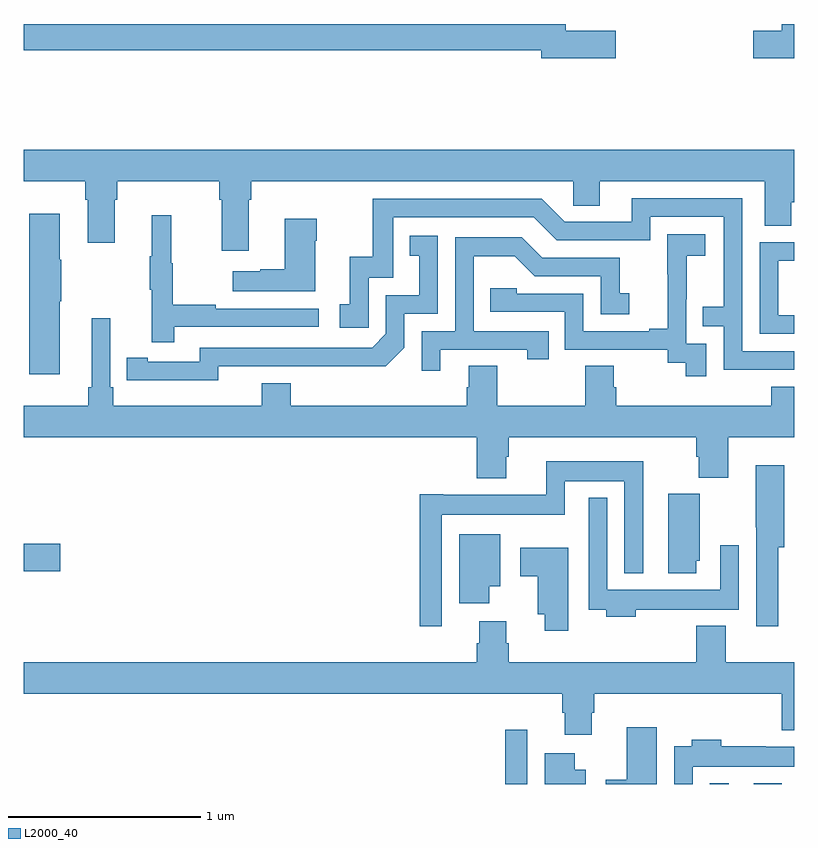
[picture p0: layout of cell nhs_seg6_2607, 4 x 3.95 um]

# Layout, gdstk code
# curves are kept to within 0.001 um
import gdstk
lib = gdstk.Library(unit=1e-6, precision=1e-09)
def R(c, l, rs):  # rectangles x0, y0, x1, y1
    for r in rs: c.add(gdstk.rectangle(r[:2], r[2:], *l))
def P(c, l, *ps):  # polygons
    for p in ps: c.add(gdstk.Polygon(p, *l))
L2000_40 = (2000, 40)

nhs_seg6_2607 = lib.new_cell('nhs_seg6_2607')
R(nhs_seg6_2607, L2000_40, [(267.499,981.5,267.615,981.781), (268.563,981.5,268.66,981.505), (268.79,981.5,268.936,981.505), (265,982.606,265.189,982.748)])
P(nhs_seg6_2607, L2000_40, [(268.075,985.412),(267.814,985.412),(267.814,985.448),(265,985.448),(265,985.312),(267.686,985.312),(267.686,985.27),(268.075,985.27)],
  [(269,985.448),(268.937,985.448),(268.937,985.412),(268.788,985.412),(268.788,985.27),(269,985.27)],
  [(265,984.632),(265.319,984.632),(265.319,984.536),(265.331,984.536),(265.331,984.312),(265.471,984.312),(265.471,984.536),(265.484,984.536),(265.484,984.632),(266.015,984.632),(266.015,984.536),(266.027,984.536),(266.027,984.27),(266.167,984.27),(266.167,984.536),(266.18,984.536),(266.18,984.632),(267.852,984.632),(267.852,984.505),(267.991,984.505),(267.991,984.632),(268.847,984.632),(268.847,984.4),(268.986,984.4),(268.986,984.523),(269,984.523),(269,984.796),(265,984.796)],
  [(269,983.748),(268.731,983.748),(268.731,984.543),(268.157,984.543),(268.157,984.42),(267.81,984.42),(267.69,984.54),(266.811,984.54),(266.811,984.238),(266.693,984.238),(266.693,983.991),(266.64,983.991),(266.64,983.871),(266.79,983.871),(266.79,984.129),(266.919,984.129),(266.919,984.444),(267.648,984.444),(267.768,984.324),(268.254,984.324),(268.254,984.447),(268.635,984.447),(268.635,983.978),(268.525,983.978),(268.525,983.877),(268.635,983.877),(268.635,983.652),(269,983.652)],
  [(265.186,984.007),(265.194,984.007),(265.194,984.224),(265.186,984.224),(265.186,984.463),(265.028,984.463),(265.028,983.628),(265.186,983.628)],
  [(265.781,983.874),(266.53,983.874),(266.53,983.97),(265.997,983.97),(265.997,983.99),(265.774,983.99),(265.774,984.204),(265.766,984.204),(265.766,984.454),(265.664,984.454),(265.664,984.241),(265.653,984.241),(265.653,984.067),(265.664,984.067),(265.664,983.796),(265.781,983.796)],
  [(266.512,984.323),(266.52,984.323),(266.52,984.436),(266.354,984.436),(266.354,984.173),(266.228,984.173),(266.228,984.163),(266.085,984.163),(266.085,984.059),(266.512,984.059)],
  [(268.545,983.787),(268.44,983.787),(268.44,984.017),(268.442,984.017),(268.442,984.245),(268.54,984.245),(268.54,984.355),(268.342,984.355),(268.342,984.149),(268.343,984.149),(268.343,983.866),(268.247,983.866),(268.247,983.853),(267.906,983.853),(267.906,984.048),(267.561,984.048),(267.561,984.075),(267.421,984.075),(267.421,983.952),(267.81,983.952),(267.81,983.757),(268.344,983.757),(268.344,983.689),(268.437,983.689),(268.437,983.619),(268.545,983.619)],
  [(266.01,983.67),(266.878,983.669),(266.976,983.766),(266.976,983.943),(267.15,983.943),(267.15,984.349),(267.004,984.349),(267.004,984.243),(267.053,984.243),(267.053,984.039),(266.88,984.039),(266.88,983.838),(266.808,983.766),(265.914,983.766),(265.914,983.694),(265.642,983.694),(265.642,983.714),(265.534,983.714),(265.534,983.598),(266.01,983.597)],
  [(267.163,983.757),(267.614,983.757),(267.614,983.706),(267.725,983.706),(267.725,983.853),(267.336,983.853),(267.336,984.242),(267.55,984.242),(267.654,984.138),(267.996,984.138),(267.996,983.94),(268.144,983.94),(268.144,984.049),(268.095,984.049),(268.095,984.234),(267.691,984.234),(267.586,984.339),(267.24,984.339),(267.24,983.853),(267.066,983.853),(267.066,983.646),(267.163,983.646)],
  [(269,983.934),(268.917,983.934),(268.917,984.219),(269,984.219),(269,984.315),(268.821,984.315),(268.821,983.838),(269,983.838)],
  [(267.505,983.199),(267.518,983.199),(267.518,983.3),(268.493,983.3),(268.493,983.201),(268.505,983.201),(268.505,983.092),(268.658,983.092),(268.658,983.3),(269,983.3),(269,983.563),(268.883,983.563),(268.883,983.464),(268.076,983.464),(268.076,983.562),(268.063,983.562),(268.063,983.672),(267.916,983.672),(267.916,983.464),(267.459,983.464),(267.459,983.672),(267.311,983.672),(267.311,983.562),(267.299,983.562),(267.299,983.464),(266.387,983.464),(266.387,983.581),(266.234,983.581),(266.234,983.464),(265.463,983.464),(265.463,983.56),(265.449,983.56),(265.449,983.92),(265.352,983.92),(265.352,983.56),(265.333,983.56),(265.333,983.464),(265,983.464),(265,983.3),(267.353,983.3),(267.353,983.087),(267.505,983.087)],
  [(267.171,982.898),(267.81,982.898),(267.81,983.072),(268.119,983.072),(268.119,982.595),(268.216,982.595),(268.216,983.176),(267.713,983.176),(267.713,983.002),(267.178,983.002),(267.178,983.005),(267.055,983.005),(267.055,982.32),(267.171,982.32)],
  [(268.919,982.73),(268.949,982.73),(268.949,983.155),(268.802,983.155),(268.802,982.834),(268.803,982.834),(268.803,982.32),(268.919,982.32)],
  [(268.492,982.659),(268.51,982.659),(268.51,983.007),(268.346,983.007),(268.346,982.596),(268.492,982.596)],
  [(268.178,982.404),(268.409,982.404),(268.409,982.406),(268.713,982.406),(268.713,982.741),(268.617,982.741),(268.617,982.51),(268.029,982.51),(268.029,982.987),(267.933,982.987),(267.933,982.404),(268.025,982.404),(268.025,982.37),(268.178,982.37)],
  [(267.418,982.526),(267.475,982.526),(267.475,982.798),(267.26,982.798),(267.26,982.44),(267.418,982.44)],
  [(267.826,982.726),(267.579,982.726),(267.579,982.579),(267.668,982.579),(267.668,982.382),(267.704,982.382),(267.704,982.296),(267.826,982.296)],
  [(267.949,981.87),(267.962,981.87),(267.962,981.968),(268.937,981.968),(268.937,981.779),(269,981.779),(269,982.132),(268.645,982.132),(268.645,982.321),(268.493,982.321),(268.493,982.132),(267.518,982.132),(267.518,982.23),(267.505,982.23),(267.505,982.345),(267.365,982.345),(267.365,982.23),(267.353,982.23),(267.353,982.132),(265,982.132),(265,981.968),(267.797,981.968),(267.797,981.87),(267.809,981.87),(267.809,981.756),(267.949,981.756)],
  [(268.288,981.796),(268.13,981.796),(268.13,981.522),(268.023,981.522),(268.023,981.5),(268.288,981.5)],
  [(268.473,981.59),(269,981.59),(269,981.694),(268.853,981.694),(268.853,981.697),(268.622,981.697),(268.622,981.73),(268.469,981.73),(268.469,981.697),(268.377,981.697),(268.377,981.5),(268.473,981.5)],
  [(267.919,981.574),(267.862,981.574),(267.862,981.661),(267.704,981.661),(267.704,981.5),(267.919,981.5)])

lib.write_gds('nhs_seg6_2607.gds')
